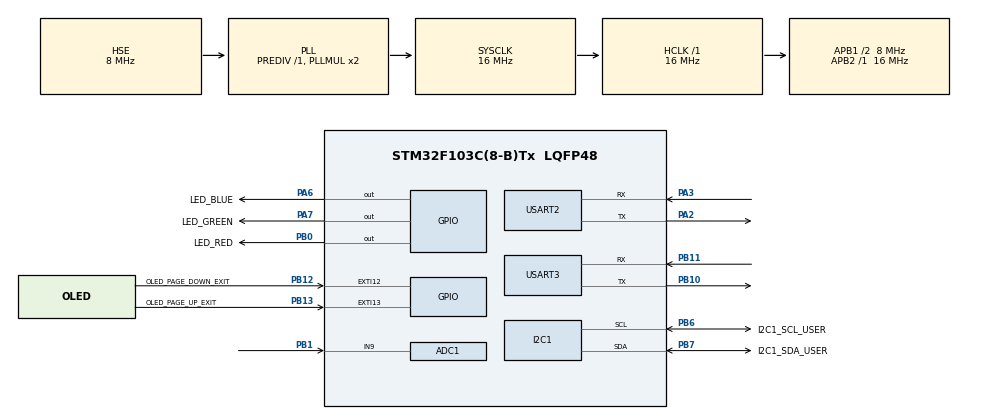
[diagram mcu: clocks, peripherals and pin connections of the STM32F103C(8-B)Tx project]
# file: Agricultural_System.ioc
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ADC1.Channel-3\#ChannelRegularConversion=ADC_CHANNEL_9
ADC1.ContinuousConvMode=ENABLE
ADC1.DataAlign=ADC_DATAALIGN_RIGHT
ADC1.NbrOfConversion=1
ADC1.NbrOfConversionFlag=1
ADC1.Rank-3\#ChannelRegularConversion=1
ADC1.SamplingTime-3\#ChannelRegularConversion=ADC_SAMPLETIME_1CYCLE_5
ADC1.master=1
Dma.ADC1.2.Direction=DMA_PERIPH_TO_MEMORY
Dma.ADC1.2.Instance=DMA1_Channel1
Dma.ADC1.2.MemDataAlignment=DMA_MDATAALIGN_HALFWORD
Dma.ADC1.2.MemInc=DMA_MINC_ENABLE
Dma.ADC1.2.Mode=DMA_CIRCULAR
Dma.ADC1.2.PeriphDataAlignment=DMA_PDATAALIGN_HALFWORD
Dma.ADC1.2.PeriphInc=DMA_PINC_DISABLE
Dma.ADC1.2.Priority=DMA_PRIORITY_LOW
Dma.I2C1_RX.0.Direction=DMA_PERIPH_TO_MEMORY
Dma.I2C1_RX.0.Instance=DMA1_Channel7
Dma.I2C1_RX.0.MemDataAlignment=DMA_MDATAALIGN_BYTE
Dma.I2C1_RX.0.MemInc=DMA_MINC_ENABLE
Dma.I2C1_RX.0.Mode=DMA_NORMAL
Dma.I2C1_RX.0.PeriphDataAlignment=DMA_PDATAALIGN_BYTE
Dma.I2C1_RX.0.PeriphInc=DMA_PINC_DISABLE
Dma.I2C1_RX.0.Priority=DMA_PRIORITY_MEDIUM
Dma.I2C1_TX.1.Direction=DMA_MEMORY_TO_PERIPH
Dma.I2C1_TX.1.Instance=DMA1_Channel6
Dma.I2C1_TX.1.MemDataAlignment=DMA_MDATAALIGN_BYTE
Dma.I2C1_TX.1.MemInc=DMA_MINC_ENABLE
Dma.I2C1_TX.1.Mode=DMA_NORMAL
Dma.I2C1_TX.1.PeriphDataAlignment=DMA_PDATAALIGN_BYTE
Dma.I2C1_TX.1.PeriphInc=DMA_PINC_DISABLE
Dma.I2C1_TX.1.Priority=DMA_PRIORITY_MEDIUM
Dma.Request0=I2C1_RX
Dma.Request1=I2C1_TX
Dma.Request2=ADC1
FREERTOS.BinarySemaphores01=SEM_I2C1_TX_CPLT,Dynamic,NULL,Available;SEM_I2C1_RX_CPLT,Dynamic,NULL,Available;SEM_ADC1_READ_CPLT,Dynamic,NULL,Depleted;SEM_ADC1_CONV_CPLT,Dynamic,NULL,Depleted
FREERTOS.Mutexes01=MUTEX_I2C1,Dynamic,NULL,Depleted;MUTEX_UART,Dynamic,NULL,Available
FREERTOS.Queues01=Queue_toOLED,5,20,1,Static,Queue_toOLEDBuffer,Queue_toOLEDControlBlock;Queue_toLogger,16,4,1,Static,Queue_toLoggerBuffer,Queue_toLoggerControlBlock
FREERTOS.Tasks01=Task_LED,23,128,AppTask_LED,Default,NULL,Dynamic,NULL,NULL;Task_AHT20,24,128,AppTask_AHT20,Default,NULL,Dynamic,NULL,NULL;Task_OLED,24,512,AppTask_OLED,Default,NULL,Dynamic,NULL,NULL;Task_KEY,32,128,AppTask_KEY,Default,NULL,Dynamic,NULL,NULL;Task_LOGGER,40,128,AppTask_LOGGER,Default,NULL,Static,Task_LOGGERBuffer,Task_LOGGERControlBlock;Task_LIGHTSENSO,24,128,AppTask_LIGHTSENSOR,Default,NULL,Dynamic,NULL,NULL
FREERTOS.configTOTAL_HEAP_SIZE=10240
FREERTOS.configUSE_IDLE_HOOK=1
I2C1.I2C_Mode=I2C_Fast
Mcu.Family=STM32F1
Mcu.Name=STM32F103C(8-B)Tx
Mcu.Package=LQFP48
NVIC.DMA1_Channel1_IRQn=true\:5\:0\:false\:false\:true\:true\:false\:true\:true
NVIC.DMA1_Channel6_IRQn=true\:5\:0\:false\:false\:true\:true\:false\:true\:true
NVIC.DMA1_Channel7_IRQn=true\:5\:0\:false\:false\:true\:true\:false\:true\:true
NVIC.EXTI15_10_IRQn=true\:10\:0\:true\:false\:true\:true\:true\:true\:true
NVIC.I2C1_ER_IRQn=true\:6\:0\:true\:false\:true\:true\:true\:true\:true
NVIC.I2C1_EV_IRQn=true\:6\:0\:true\:false\:true\:true\:true\:true\:true
NVIC.PriorityGroup=NVIC_PRIORITYGROUP_4
NVIC.TIM4_IRQn=true\:15\:0\:false\:false\:true\:false\:false\:true\:true
NVIC.TimeBase=TIM4_IRQn
NVIC.TimeBaseIP=TIM4
PA13.Mode=Serial_Wire
PA13.Signal=SYS_JTMS-SWDIO
PA14.Mode=Serial_Wire
PA14.Signal=SYS_JTCK-SWCLK
PA2.Mode=Asynchronous
PA2.Signal=USART2_TX
PA3.Mode=Asynchronous
PA3.Signal=USART2_RX
PA6.GPIO_Label=LED_BLUE
PA6.Signal=GPIO_Output
PA7.GPIO_Label=LED_GREEN
PA7.Signal=GPIO_Output
PB0.GPIO_Label=LED_RED
PB0.Signal=GPIO_Output
PB1.Signal=ADCx_IN9
PB10.Mode=Asynchronous
PB10.Signal=USART3_TX
PB11.Mode=Asynchronous
PB11.Signal=USART3_RX
PB12.GPIO_Label=OLED_PAGE_DOWN_EXIT
PB12.GPIO_ModeDefaultEXTI=GPIO_MODE_IT_FALLING
PB12.GPIO_PuPd=GPIO_PULLUP
PB12.Signal=GPXTI12
PB13.GPIO_Label=OLED_PAGE_UP_EXIT
PB13.GPIO_ModeDefaultEXTI=GPIO_MODE_IT_FALLING
PB13.GPIO_PuPd=GPIO_PULLUP
PB13.Signal=GPXTI13
PB6.GPIO_Label=I2C1_SCL_USER
PB6.Mode=I2C
PB6.Signal=I2C1_SCL
PB7.GPIO_Label=I2C1_SDA_USER
PB7.Mode=I2C
PB7.Signal=I2C1_SDA
PD0-OSC_IN.Mode=HSE-External-Oscillator
PD0-OSC_IN.Signal=RCC_OSC_IN
PD1-OSC_OUT.Mode=HSE-External-Oscillator
PD1-OSC_OUT.Signal=RCC_OSC_OUT
ProjectManager.HeapSize=0x200
ProjectManager.StackSize=0x400
ProjectManager.TargetToolchain=CMake
RCC.AHBFreq_Value=16000000
RCC.APB1CLKDivider=RCC_HCLK_DIV2
RCC.APB1Freq_Value=8000000
RCC.APB1TimFreq_Value=16000000
RCC.APB2Freq_Value=16000000
RCC.APB2TimFreq_Value=16000000
RCC.HCLKFreq_Value=16000000
RCC.PLLSourceVirtual=RCC_PLLSOURCE_HSE
RCC.SYSCLKFreq_VALUE=16000000
RCC.SYSCLKSource=RCC_SYSCLKSOURCE_PLLCLK
RCC.USBFreq_Value=16000000
SH.ADCx_IN9.0=ADC1_IN9,IN9
USART2.VirtualMode=VM_ASYNC
USART3.VirtualMode=VM_ASYNC
VP_FREERTOS_VS_CMSIS_V2.Mode=CMSIS_V2
VP_SYS_VS_tim4.Mode=TIM4
board=custom

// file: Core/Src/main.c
/* USER CODE BEGIN Header */
    /**
      ******************************************************************************
      * @file           : main.c
      * @brief          : Main program body
      ******************************************************************************
      * @attention
      *
      * Copyright (c) 2025 STMicroelectronics.
      * All rights reserved.
      *
      * This software is licensed under terms that can be found in the LICENSE file
      * in the root directory of this software component.
      * If no LICENSE file comes with this software, it is provided AS-IS.
      *
      ******************************************************************************
      */
/* USER CODE END Header */
#include "main.h"
#include "cmsis_os.h"
#include "adc.h"
#include "dma.h"
#include "i2c.h"
#include "usart.h"
#include "gpio.h"

/* USER CODE BEGIN Includes */
    #include "LED/led.h"
    #include "AHT20/aht20.h"
    #include "OLED/oled.h"
/* USER CODE END Includes */

void SystemClock_Config(void);
void MX_FREERTOS_Init(void);

int main(void)
{

  /* MCU Configuration--------------------------------------------------------*/

  /* Reset of all peripherals, Initializes the Flash interface and the Systick. */
  HAL_Init();

  /* Configure the system clock */
  SystemClock_Config();

  /* Initialize all configured peripherals */
  MX_GPIO_Init();
  MX_DMA_Init();
  MX_I2C1_Init();
  MX_USART2_UART_Init();
  MX_USART3_UART_Init();
  MX_ADC1_Init();
  /* USER CODE BEGIN 2 */
    //TK_vLED_Init();

  /* USER CODE END 2 */

  /* Init scheduler */
  osKernelInitialize();

  /* Call init function for freertos objects (in cmsis_os2.c) */
  MX_FREERTOS_Init();

  /* Start scheduler */
  osKernelStart();

  /* We should never get here as control is now taken by the scheduler */

  /* Infinite loop */
      while (1)
      {

      }
}

void SystemClock_Config(void)
{
  RCC_OscInitTypeDef RCC_OscInitStruct = {0};
  RCC_ClkInitTypeDef RCC_ClkInitStruct = {0};
  RCC_PeriphCLKInitTypeDef PeriphClkInit = {0};

  /** Initializes the RCC Oscillators according to the specified parameters
  * in the RCC_OscInitTypeDef structure.
  */
  RCC_OscInitStruct.OscillatorType = RCC_OSCILLATORTYPE_HSE;
  RCC_OscInitStruct.HSEState = RCC_HSE_ON;
  RCC_OscInitStruct.HSEPredivValue = RCC_HSE_PREDIV_DIV1;
  RCC_OscInitStruct.HSIState = RCC_HSI_ON;
  RCC_OscInitStruct.PLL.PLLState = RCC_PLL_ON;
  RCC_OscInitStruct.PLL.PLLSource = RCC_PLLSOURCE_HSE;
  RCC_OscInitStruct.PLL.PLLMUL = RCC_PLL_MUL2;
  if (HAL_RCC_OscConfig(&RCC_OscInitStruct) != HAL_OK)
  {
    Error_Handler();
  }

  /** Initializes the CPU, AHB and APB buses clocks
  */
  RCC_ClkInitStruct.ClockType = RCC_CLOCKTYPE_HCLK|RCC_CLOCKTYPE_SYSCLK
                              |RCC_CLOCKTYPE_PCLK1|RCC_CLOCKTYPE_PCLK2;
  RCC_ClkInitStruct.SYSCLKSource = RCC_SYSCLKSOURCE_PLLCLK;
  RCC_ClkInitStruct.AHBCLKDivider = RCC_SYSCLK_DIV1;
  RCC_ClkInitStruct.APB1CLKDivider = RCC_HCLK_DIV2;
  RCC_ClkInitStruct.APB2CLKDivider = RCC_HCLK_DIV1;

  if (HAL_RCC_ClockConfig(&RCC_ClkInitStruct, FLASH_LATENCY_0) != HAL_OK)
  {
    Error_Handler();
  }
  PeriphClkInit.PeriphClockSelection = RCC_PERIPHCLK_ADC;
  PeriphClkInit.AdcClockSelection = RCC_ADCPCLK2_DIV2;
  if (HAL_RCCEx_PeriphCLKConfig(&PeriphClkInit) != HAL_OK)
  {
    Error_Handler();
  }
}

void HAL_TIM_PeriodElapsedCallback(TIM_HandleTypeDef *htim)
{
  if (htim->Instance == TIM4) {
    HAL_IncTick();
  }
}

void Error_Handler(void)
{
      __disable_irq();
      while (1)
      {
      }
}

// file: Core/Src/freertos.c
/* USER CODE BEGIN Header */
/**
  ******************************************************************************
  * File Name          : freertos.c
  * Description        : Code for freertos applications
  ******************************************************************************
  * @attention
  *
  * Copyright (c) 2025 STMicroelectronics.
  * All rights reserved.
  *
  * This software is licensed under terms that can be found in the LICENSE file
  * in the root directory of this software component.
  * If no LICENSE file comes with this software, it is provided AS-IS.
  *
  ******************************************************************************
  */
/* USER CODE END Header */

#include "FreeRTOS.h"
#include "task.h"
#include "main.h"
#include "cmsis_os.h"

/* USER CODE BEGIN Includes */
#include "LED/led.h"
#include "AHT20/aht20.h"
#include "OLED/oled.h"
#include "../MiddleFile/event.h"
#include "usart.h"
#include "LIGHTSENSOR/light_sensor.h"
/* USER CODE END Includes */

typedef StaticTask_t osStaticThreadDef_t;
typedef StaticQueue_t osStaticMessageQDef_t;

/* Definitions for Task_LED */
osThreadId_t Task_LEDHandle;
const osThreadAttr_t Task_LED_attributes = {
  .name = "Task_LED",
  .stack_size = 128 * 4,
  .priority = (osPriority_t) osPriorityBelowNormal7,
};
/* Definitions for Task_AHT20 */
osThreadId_t Task_AHT20Handle;
const osThreadAttr_t Task_AHT20_attributes = {
  .name = "Task_AHT20",
  .stack_size = 128 * 4,
  .priority = (osPriority_t) osPriorityNormal,
};
/* Definitions for Task_OLED */
osThreadId_t Task_OLEDHandle;
const osThreadAttr_t Task_OLED_attributes = {
  .name = "Task_OLED",
  .stack_size = 512 * 4,
  .priority = (osPriority_t) osPriorityNormal,
};
/* Definitions for Task_KEY */
osThreadId_t Task_KEYHandle;
const osThreadAttr_t Task_KEY_attributes = {
  .name = "Task_KEY",
  .stack_size = 128 * 4,
  .priority = (osPriority_t) osPriorityAboveNormal,
};
/* Definitions for Task_LOGGER */
osThreadId_t Task_LOGGERHandle;
uint32_t Task_LOGGERBuffer[ 128 ];
osStaticThreadDef_t Task_LOGGERControlBlock;
const osThreadAttr_t Task_LOGGER_attributes = {
  .name = "Task_LOGGER",
  .cb_mem = &Task_LOGGERControlBlock,
  .cb_size = sizeof(Task_LOGGERControlBlock),
  .stack_mem = &Task_LOGGERBuffer[0],
  .stack_size = sizeof(Task_LOGGERBuffer),
  .priority = (osPriority_t) osPriorityHigh,
};
/* Definitions for Task_LIGHTSENSO */
osThreadId_t Task_LIGHTSENSOHandle;
const osThreadAttr_t Task_LIGHTSENSO_attributes = {
  .name = "Task_LIGHTSENSO",
  .stack_size = 128 * 4,
  .priority = (osPriority_t) osPriorityNormal,
};
/* Definitions for Queue_toOLED */
osMessageQueueId_t Queue_toOLEDHandle;
uint8_t Queue_toOLEDBuffer[ 5 * 20 ];
osStaticMessageQDef_t Queue_toOLEDControlBlock;
const osMessageQueueAttr_t Queue_toOLED_attributes = {
  .name = "Queue_toOLED",
  .cb_mem = &Queue_toOLEDControlBlock,
  .cb_size = sizeof(Queue_toOLEDControlBlock),
  .mq_mem = &Queue_toOLEDBuffer,
  .mq_size = sizeof(Queue_toOLEDBuffer)
};
/* Definitions for Queue_toLogger */
osMessageQueueId_t Queue_toLoggerHandle;
uint8_t Queue_toLoggerBuffer[ 16 * 4 ];
osStaticMessageQDef_t Queue_toLoggerControlBlock;
const osMessageQueueAttr_t Queue_toLogger_attributes = {
  .name = "Queue_toLogger",
  .cb_mem = &Queue_toLoggerControlBlock,
  .cb_size = sizeof(Queue_toLoggerControlBlock),
  .mq_mem = &Queue_toLoggerBuffer,
  .mq_size = sizeof(Queue_toLoggerBuffer)
};
/* Definitions for MUTEX_I2C1 */
osMutexId_t MUTEX_I2C1Handle;
const osMutexAttr_t MUTEX_I2C1_attributes = {
  .name = "MUTEX_I2C1"
};
/* Definitions for MUTEX_UART */
osMutexId_t MUTEX_UARTHandle;
const osMutexAttr_t MUTEX_UART_attributes = {
  .name = "MUTEX_UART"
};
/* Definitions for SEM_I2C1_TX_CPLT */
osSemaphoreId_t SEM_I2C1_TX_CPLTHandle;
const osSemaphoreAttr_t SEM_I2C1_TX_CPLT_attributes = {
  .name = "SEM_I2C1_TX_CPLT"
};
/* Definitions for SEM_I2C1_RX_CPLT */
osSemaphoreId_t SEM_I2C1_RX_CPLTHandle;
const osSemaphoreAttr_t SEM_I2C1_RX_CPLT_attributes = {
  .name = "SEM_I2C1_RX_CPLT"
};
/* Definitions for SEM_ADC1_READ_CPLT */
osSemaphoreId_t SEM_ADC1_READ_CPLTHandle;
const osSemaphoreAttr_t SEM_ADC1_READ_CPLT_attributes = {
  .name = "SEM_ADC1_READ_CPLT"
};
/* Definitions for SEM_ADC1_CONV_CPLT */
osSemaphoreId_t SEM_ADC1_CONV_CPLTHandle;
const osSemaphoreAttr_t SEM_ADC1_CONV_CPLT_attributes = {
  .name = "SEM_ADC1_CONV_CPLT"
};

void AppTask_LED(void *argument);
void AppTask_AHT20(void *argument);
void AppTask_OLED(void *argument);
void AppTask_KEY(void *argument);
void AppTask_LOGGER(void *argument);
void AppTask_LIGHTSENSOR(void *argument);

void MX_FREERTOS_Init(void); /* (MISRA C 2004 rule 8.1) */

/* Hook prototypes */
void vApplicationIdleHook(void);

/* USER CODE BEGIN 2 */
void vApplicationIdleHook( void )
{
   /* vApplicationIdleHook() will only be called if configUSE_IDLE_HOOK is set
   to 1 in FreeRTOSConfig.h. It will be called on each iteration of the idle
   task. It is essential that code added to this hook function never attempts
   to block in any way (for example, call xQueueReceive() with a block time
   specified, or call vTaskDelay()). If the application makes use of the
   vTaskDelete() API function (as this demo application does) then it is also
   important that vApplicationIdleHook() is permitted to return to its calling
   function, because it is the responsibility of the idle task to clean up
   memory allocated by the kernel to any task that has since been deleted. */
}
/* USER CODE END 2 */

void MX_FREERTOS_Init(void) {
  /* Create the mutex(es) */
  /* creation of MUTEX_I2C1 */
  MUTEX_I2C1Handle = osMutexNew(&MUTEX_I2C1_attributes);

  /* creation of MUTEX_UART */
  MUTEX_UARTHandle = osMutexNew(&MUTEX_UART_attributes);

  /* Create the semaphores(s) */
  /* creation of SEM_I2C1_TX_CPLT */
  SEM_I2C1_TX_CPLTHandle = osSemaphoreNew(1, 1, &SEM_I2C1_TX_CPLT_attributes);

  /* creation of SEM_I2C1_RX_CPLT */
  SEM_I2C1_RX_CPLTHandle = osSemaphoreNew(1, 1, &SEM_I2C1_RX_CPLT_attributes);

  /* creation of SEM_ADC1_READ_CPLT */
  SEM_ADC1_READ_CPLTHandle = osSemaphoreNew(1, 0, &SEM_ADC1_READ_CPLT_attributes);

  /* creation of SEM_ADC1_CONV_CPLT */
  SEM_ADC1_CONV_CPLTHandle = osSemaphoreNew(1, 0, &SEM_ADC1_CONV_CPLT_attributes);

  /* Create the queue(s) */
  /* creation of Queue_toOLED */
  Queue_toOLEDHandle = osMessageQueueNew (5, 20, &Queue_toOLED_attributes);

  /* creation of Queue_toLogger */
  Queue_toLoggerHandle = osMessageQueueNew (16, 4, &Queue_toLogger_attributes);

  /* Create the thread(s) */
  /* creation of Task_LED */
  Task_LEDHandle = osThreadNew(AppTask_LED, NULL, &Task_LED_attributes);

  /* creation of Task_AHT20 */
  Task_AHT20Handle = osThreadNew(AppTask_AHT20, NULL, &Task_AHT20_attributes);

  /* creation of Task_OLED */
  Task_OLEDHandle = osThreadNew(AppTask_OLED, NULL, &Task_OLED_attributes);

  /* creation of Task_KEY */
  Task_KEYHandle = osThreadNew(AppTask_KEY, NULL, &Task_KEY_attributes);

  /* creation of Task_LOGGER */
  Task_LOGGERHandle = osThreadNew(AppTask_LOGGER, NULL, &Task_LOGGER_attributes);

  /* creation of Task_LIGHTSENSO */
  Task_LIGHTSENSOHandle = osThreadNew(AppTask_LIGHTSENSOR, NULL, &Task_LIGHTSENSO_attributes);

}

void AppTask_LED(void *argument)
{
  /* USER CODE BEGIN AppTask_LED */
  /* Infinite loop */
    //TK_vLED_Init();
  for(;;)
  {
      //TK_vLED_Blink(ALL,100);
  }
  /* USER CODE END AppTask_LED */
}

void AppTask_AHT20(void *argument)
{
  /* USER CODE BEGIN AppTask_AHT20 */
  /* Infinite loop */
  TK_vAHT20_Init();
  SensorMessage_t AHT20Data_Send;
  for(;;)
  {
      if (TK_bAHT20_Measure()==true)
      {
          AHT20Data_Send.type=AHT20;
          AHT20Data_Send.DATA.AHT20.temperature=TK_fAHT20_GetTemperature();
          AHT20Data_Send.DATA.AHT20.humidity=TK_fAHT20_GetHumidity();
          //给一秒钟来进行消息的入队
          osMessageQueuePut(Queue_toOLEDHandle,&AHT20Data_Send,0, pdMS_TO_TICKS(1000));

      }
      else
      {
          //保留错误处理
      }
      osDelay(pdMS_TO_TICKS(1000));//一秒钟测量一次
 }
  /* USER CODE END AppTask_AHT20 */
}

void AppTask_OLED(void *argument)
{
  /* USER CODE BEGIN AppTask_OLED */
  /* Infinite loop */
  OLED_Init();
  TK_vOLED_Clear();
  PageState currentPage = TK_xOLED_GetCurrentPage();//当前页面
  SensorMessage_t sensorData_Get;//接收传感器信息
  for(;;)
  {
      if (currentPage == PAGE_SENSOR)
      {
          if (osMessageQueueGet(Queue_toOLEDHandle,&sensorData_Get,NULL,osWaitForever)==osOK)
          {
              TK_vOLED_UpdateSensorData(sensorData_Get);
          }
      }
      else
      {
          //其他页面
      }

  }

  /* USER CODE END AppTask_OLED */
}

void AppTask_KEY(void *argument)
{
  /* USER CODE BEGIN AppTask_KEY */
  /* Infinite loop */
  //延时一会让别的模块上电初始化
    osDelay(pdMS_TO_TICKS(1500));
    static uint32_t pageFlags = 0;//当前页面
    for(;;)
    {
        //响应按键翻页
        pageFlags = osThreadFlagsWait(EVENT_PAGE_UP | EVENT_PAGE_DOWN, osFlagsWaitAny, osWaitForever);
        if (pageFlags == EVENT_PAGE_UP)
        {
            TK_vOLED_PageUp();

        }
        else if  (pageFlags == EVENT_PAGE_DOWN)
        {
            TK_vOLED_PageDown();
        }
    }
  /* USER CODE END AppTask_KEY */
}

void AppTask_LOGGER(void *argument)
{
  /* USER CODE BEGIN AppTask_LOGGER */
  char* readyLog_ptr;
  /* Infinite loop */
  for(;;)
  {
      if (osMessageQueueGet(Queue_toLoggerHandle,&readyLog_ptr,NULL,osWaitForever)==osOK)
      {
          if (readyLog_ptr!= NULL)
          {
              if (osMutexAcquire(MUTEX_UARTHandle,osWaitForever)==osOK)
              {
                  //暂时采用阻塞模式
                  HAL_UART_Transmit(&huart2,(uint8_t*)readyLog_ptr,strlen(readyLog_ptr), pdMS_TO_TICKS(50));
                  osMutexRelease(MUTEX_UARTHandle);
              }
              vPortFree(readyLog_ptr);
          }

      }
  }
  /* USER CODE END AppTask_LOGGER */
}

void AppTask_LIGHTSENSOR(void *argument)
{
  /* USER CODE BEGIN AppTask_LIGHTSENSOR */
  /* Infinite loop */
  TK_vLED_Init();
  SensorMessage_t LightSensorData_Send;
  for(;;)
  {
      if(osSemaphoreAcquire(SEM_ADC1_CONV_CPLTHandle,osWaitForever)==osOK)
      {
        TK_vLightSensor_Conversion();
      }
      if (osSemaphoreAcquire(SEM_ADC1_CONV_CPLTHandle, pdMS_TO_TICKS(1000))==osOK)
      {
          LightSensorData_Send.type=LIGHT_SENSOR;
          LightSensorData_Send.DATA.light_intensity=TK_fLightSensor_GetLightIntensity();
          osMessageQueuePut(Queue_toOLEDHandle,&LightSensorData_Send,0, pdMS_TO_TICKS(1000));
      }
      osDelay(pdMS_TO_TICKS(1000));//一秒钟测量一次y()
  }
  /* USER CODE END AppTask_LIGHTSENSOR */
}
